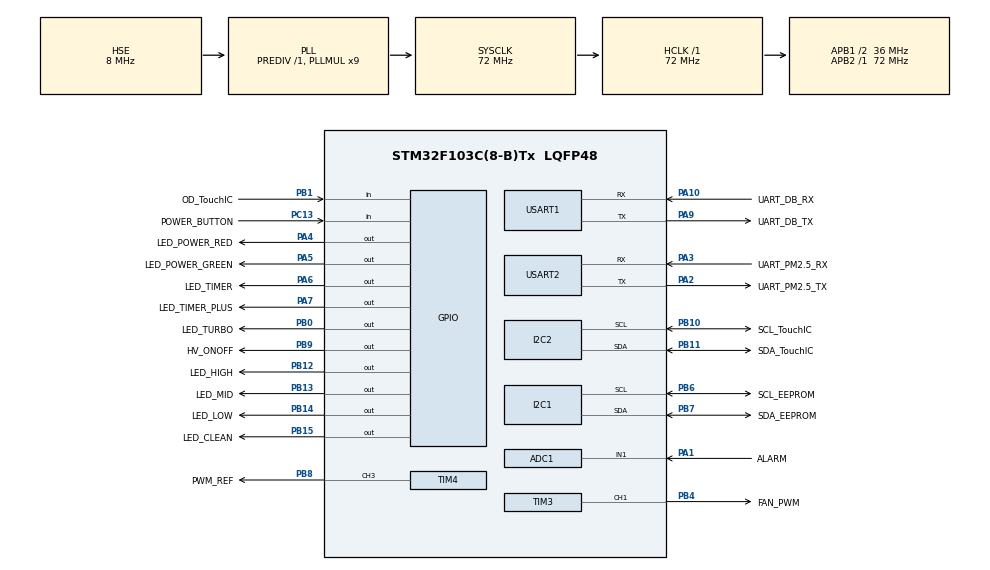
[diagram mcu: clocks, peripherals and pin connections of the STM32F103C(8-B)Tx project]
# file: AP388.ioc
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ADC1.AWD1HighThreshold=1241
ADC1.AWD1ITMode=ENABLE
ADC1.AWD1LowThreshold=250
ADC1.Channel-0\#ChannelRegularConversion=ADC_CHANNEL_1
ADC1.ContinuousConvMode=ENABLE
ADC1.DataAlign=ADC_DATAALIGN_RIGHT
ADC1.DiscontinuousConvMode=DISABLE
ADC1.EnableAnalogWatchDog=true
ADC1.EnableRegularConversion=ENABLE
ADC1.ExternalTrigConv=ADC_SOFTWARE_START
ADC1.InjNumberOfConversion=0
ADC1.NbrOfConversion=1
ADC1.NbrOfConversionFlag=1
ADC1.Rank-0\#ChannelRegularConversion=1
ADC1.SamplingTime-0\#ChannelRegularConversion=ADC_SAMPLETIME_239CYCLES_5
ADC1.ScanConvMode=ADC_SCAN_DISABLE
ADC1.WatchdogChannel=ADC_CHANNEL_1
ADC1.WatchdogMode=ADC_ANALOGWATCHDOG_SINGLE_REG
ADC1.master=1
FREERTOS.INCLUDE_vTaskDelayUntil=1
FREERTOS.Queues01=eventsQueueHAL,16,uint8_t,0,Dynamic,NULL,NULL
FREERTOS.Tasks01=FlashLedsTask,0,128,StartFlashLedsTask,Default,NULL,Dynamic,NULL,NULL;ButtonTask,-3,128,StartButtonTask,Default,NULL,Dynamic,NULL,NULL;TouchTask,-3,128,StartTouchTask,Default,NULL,Dynamic,NULL,NULL;EngineTask,-3,128,StartEngineTask,Default,NULL,Dynamic,NULL,NULL;Cli,-3,128,StartCli,Default,NULL,Dynamic,NULL,NULL;AdcTask,-3,128,StartAdcTask,Default,NULL,Dynamic,NULL,NULL
FREERTOS.Timers01=settingTimer,settingTimerCallback,osTimerOnce,Default,NULL,Dynamic,NULL;fanTimer,fanTimerCallback,osTimerOnce,Default,NULL,Dynamic,NULL;cleanAccTimer,cleanAccTimerCallback,osTimerPeriodic,Default,NULL,Dynamic,NULL;hvDelayTimer,hvDelayTimerCallback,osTimerOnce,Default,NULL,Dynamic,NULL;adjFanGradullyTimer,adjFanGradullyCallback,osTimerPeriodic,Default,NULL,Dynamic,NULL
FREERTOS.configGENERATE_RUN_TIME_STATS=1
FREERTOS.configTIMER_QUEUE_LENGTH=2
FREERTOS.configTIMER_TASK_STACK_DEPTH=128
FREERTOS.configTOTAL_HEAP_SIZE=6000
FREERTOS.configUSE_STATS_FORMATTING_FUNCTIONS=1
FREERTOS.configUSE_TIMERS=1
FREERTOS.configUSE_TRACE_FACILITY=1
IWDG.Prescaler=IWDG_PRESCALER_64
Mcu.Family=STM32F1
Mcu.Name=STM32F103C(8-B)Tx
Mcu.Package=LQFP48
NVIC.ADC1_2_IRQn=true\:5\:0\:false\:false\:true\:true\:true
NVIC.PriorityGroup=NVIC_PRIORITYGROUP_4
NVIC.TIM2_IRQn=true\:0\:0\:false\:false\:true\:false\:false
NVIC.TimeBase=TIM2_IRQn
NVIC.TimeBaseIP=TIM2
PA1.GPIO_Label=ALARM
PA1.Signal=ADCx_IN1
PA10.GPIO_Label=UART_DB_RX
PA10.Mode=Asynchronous
PA10.Signal=USART1_RX
PA13.Mode=Serial_Wire
PA13.Signal=SYS_JTMS-SWDIO
PA14.Mode=Serial_Wire
PA14.Signal=SYS_JTCK-SWCLK
PA2.GPIO_Label=UART_PM2.5_TX
PA2.Mode=Asynchronous
PA2.Signal=USART2_TX
PA3.GPIO_Label=UART_PM2.5_RX
PA3.Mode=Asynchronous
PA3.Signal=USART2_RX
PA4.GPIO_Label=LED_POWER_RED
PA4.PinState=GPIO_PIN_SET
PA4.Signal=GPIO_Output
PA5.GPIO_Label=LED_POWER_GREEN
PA5.PinState=GPIO_PIN_SET
PA5.Signal=GPIO_Output
PA6.GPIO_Label=LED_TIMER
PA6.PinState=GPIO_PIN_SET
PA6.Signal=GPIO_Output
PA7.GPIO_Label=LED_TIMER_PLUS
PA7.PinState=GPIO_PIN_SET
PA7.Signal=GPIO_Output
PA9.GPIO_Label=UART_DB_TX
PA9.Mode=Asynchronous
PA9.Signal=USART1_TX
PB0.GPIO_Label=LED_TURBO
PB0.PinState=GPIO_PIN_SET
PB0.Signal=GPIO_Output
PB1.GPIO_Label=OD_TouchIC
PB1.GPIO_PuPd=GPIO_NOPULL
PB1.Signal=GPIO_Input
PB10.GPIO_Label=SCL_TouchIC
PB10.Mode=I2C
PB10.Signal=I2C2_SCL
PB11.GPIO_Label=SDA_TouchIC
PB11.Mode=I2C
PB11.Signal=I2C2_SDA
PB12.GPIO_Label=LED_HIGH
PB12.PinState=GPIO_PIN_SET
PB12.Signal=GPIO_Output
PB13.GPIO_Label=LED_MID
PB13.PinState=GPIO_PIN_SET
PB13.Signal=GPIO_Output
PB14.GPIO_Label=LED_LOW
PB14.PinState=GPIO_PIN_SET
PB14.Signal=GPIO_Output
PB15.GPIO_Label=LED_CLEAN
PB15.PinState=GPIO_PIN_SET
PB15.Signal=GPIO_Output
PB4.GPIO_Label=FAN_PWM
PB4.Signal=S_TIM3_CH1
PB6.GPIO_Label=SCL_EEPROM
PB6.Mode=I2C
PB6.Signal=I2C1_SCL
PB7.GPIO_Label=SDA_EEPROM
PB7.Mode=I2C
PB7.Signal=I2C1_SDA
PB8.GPIO_Label=PWM_REF
PB8.Signal=S_TIM4_CH3
PB9.GPIO_Label=HV_ONOFF
PB9.Signal=GPIO_Output
PC13-TAMPER-RTC.GPIO_Label=POWER_BUTTON
PC13-TAMPER-RTC.Signal=GPIO_Input
PD0-OSC_IN.Mode=HSE-External-Oscillator
PD0-OSC_IN.Signal=RCC_OSC_IN
PD1-OSC_OUT.Mode=HSE-External-Oscillator
PD1-OSC_OUT.Signal=RCC_OSC_OUT
ProjectManager.HeapSize=0x200
ProjectManager.StackSize=0x400
ProjectManager.TargetToolchain=MDK-ARM V5
RCC.ADCPresc=RCC_ADCPCLK2_DIV6
RCC.AHBFreq_Value=72000000
RCC.APB1CLKDivider=RCC_HCLK_DIV2
RCC.APB1Freq_Value=36000000
RCC.APB1TimFreq_Value=72000000
RCC.APB2Freq_Value=72000000
RCC.APB2TimFreq_Value=72000000
RCC.HCLKFreq_Value=72000000
RCC.PLLMUL=RCC_PLL_MUL9
RCC.PLLSourceVirtual=RCC_PLLSOURCE_HSE
RCC.SYSCLKFreq_VALUE=72000000
RCC.SYSCLKSource=RCC_SYSCLKSOURCE_PLLCLK
RCC.USBFreq_Value=72000000
SH.ADCx_IN1.0=ADC1_IN1,IN1
SH.S_TIM3_CH1.0=TIM3_CH1,PWM Generation1 CH1
SH.S_TIM4_CH3.0=TIM4_CH3,PWM Generation3 CH3
TIM3.Channel-PWM\ Generation1\ CH1=TIM_CHANNEL_1
TIM3.Period=99
TIM3.Prescaler=29
TIM3.Pulse-PWM\ Generation1\ CH1=0
TIM4.Channel-PWM\ Generation3\ CH3=TIM_CHANNEL_3
TIM4.Period=99
TIM4.Prescaler=29
TIM4.Pulse-PWM\ Generation3\ CH3=58
USART1.VirtualMode=VM_ASYNC
USART2.VirtualMode=VM_ASYNC
VP_FREERTOS_VS_ENABLE.Mode=Enabled
VP_IWDG_VS_IWDG.Mode=IWDG_Activate
VP_SYS_VS_tim2.Mode=TIM2
board=AP388

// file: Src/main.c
/**
  ******************************************************************************
  * @file           : main.c
  * @brief          : Main program body
  ******************************************************************************
  * This notice applies to any and all portions of this file
  * that are not between comment pairs USER CODE BEGIN and
  * USER CODE END. Other portions of this file, whether
  * inserted by the user or by software development tools
  * are owned by their respective copyright owners.
  *
  * Copyright (c) 2018 STMicroelectronics International N.V.
  * All rights reserved.
  *
  * Redistribution and use in source and binary forms, with or without
  * modification, are permitted, provided that the following conditions are met:
  *
  * 1. Redistribution of source code must retain the above copyright notice,
  *    this list of conditions and the following disclaimer.
  * 2. Redistributions in binary form must reproduce the above copyright notice,
  *    this list of conditions and the following disclaimer in the documentation
  *    and/or other materials provided with the distribution.
  * 3. Neither the name of STMicroelectronics nor the names of other
  *    contributors to this software may be used to endorse or promote products
  *    derived from this software without specific written permission.
  * 4. This software, including modifications and/or derivative works of this
  *    software, must execute solely and exclusively on microcontroller or
  *    microprocessor devices manufactured by or for STMicroelectronics.
  * 5. Redistribution and use of this software other than as permitted under
  *    this license is void and will automatically terminate your rights under
  *    this license.
  *
  * THIS SOFTWARE IS PROVIDED BY STMICROELECTRONICS AND CONTRIBUTORS "AS IS"
  * AND ANY EXPRESS, IMPLIED OR STATUTORY WARRANTIES, INCLUDING, BUT NOT
  * LIMITED TO, THE IMPLIED WARRANTIES OF MERCHANTABILITY, FITNESS FOR A
  * PARTICULAR PURPOSE AND NON-INFRINGEMENT OF THIRD PARTY INTELLECTUAL PROPERTY
  * RIGHTS ARE DISCLAIMED TO THE FULLEST EXTENT PERMITTED BY LAW. IN NO EVENT
  * SHALL STMICROELECTRONICS OR CONTRIBUTORS BE LIABLE FOR ANY DIRECT, INDIRECT,
  * INCIDENTAL, SPECIAL, EXEMPLARY, OR CONSEQUENTIAL DAMAGES (INCLUDING, BUT NOT
  * LIMITED TO, PROCUREMENT OF SUBSTITUTE GOODS OR SERVICES; LOSS OF USE, DATA,
  * OR PROFITS; OR BUSINESS INTERRUPTION) HOWEVER CAUSED AND ON ANY THEORY OF
  * LIABILITY, WHETHER IN CONTRACT, STRICT LIABILITY, OR TORT (INCLUDING
  * NEGLIGENCE OR OTHERWISE) ARISING IN ANY WAY OUT OF THE USE OF THIS SOFTWARE,
  * EVEN IF ADVISED OF THE POSSIBILITY OF SUCH DAMAGE.
  *
  ******************************************************************************
  */
#include "main.h"
#include "stm32f1xx_hal.h"
#include "cmsis_os.h"

/* USER CODE BEGIN Includes */
#include "stdio.h"
#include "string.h"
#include "api.h"
#include "FreeRTOS_CLI.h"
/* USER CODE END Includes */

ADC_HandleTypeDef hadc1;

I2C_HandleTypeDef hi2c1;
I2C_HandleTypeDef hi2c2;

IWDG_HandleTypeDef hiwdg;

TIM_HandleTypeDef htim3;
TIM_HandleTypeDef htim4;

UART_HandleTypeDef huart1;
UART_HandleTypeDef huart2;

osThreadId FlashLedsTaskHandle;
osThreadId ButtonTaskHandle;
osThreadId TouchTaskHandle;
osThreadId EngineTaskHandle;
osThreadId CliHandle;
osThreadId AdcTaskHandle;
osMessageQId eventsQueueHALHandle;
osTimerId settingTimerHandle;
osTimerId fanTimerHandle;
osTimerId cleanAccTimerHandle;
osTimerId hvDelayTimerHandle;
osTimerId adjFanGradullyTimerHandle;

/* USER CODE BEGIN PV */
/* Private variables ---------------------------------------------------------*/
// _deviceState deviceState;
/* USER CODE END PV */

void SystemClock_Config(void);
static void MX_GPIO_Init(void);
static void MX_ADC1_Init(void);
static void MX_I2C2_Init(void);
static void MX_TIM4_Init(void);
static void MX_USART1_UART_Init(void);
static void MX_USART2_UART_Init(void);
static void MX_TIM3_Init(void);
static void MX_I2C1_Init(void);
static void MX_IWDG_Init(void);
void StartFlashLedsTask(void const * argument);
void StartButtonTask(void const * argument);
void StartTouchTask(void const * argument);
void StartEngineTask(void const * argument);
void StartCli(void const * argument);
void StartAdcTask(void const * argument);
void settingTimerCallback(void const * argument);
void fanTimerCallback(void const * argument);
void cleanAccTimerCallback(void const * argument);
void hvDelayTimerCallback(void const * argument);
void adjFanGradullyCallback(void const * argument);

void HAL_TIM_MspPostInit(TIM_HandleTypeDef *htim);

/* USER CODE BEGIN PFP */
/* Private function prototypes -----------------------------------------------*/
extern void prvUARTCommandConsoleTask(void const * pvParameters );
extern void vRegisterCLICommands( void );
/* USER CODE END PFP */

/* USER CODE BEGIN 0 */
#define CYCLE_CLEAN_ACC (1000*60)   //unit: ms  1000*60 for 1 miniuts
#define DURATION_CLEAN_ACC (14*24*60) //unit: min 14*24*60 for 14 days
/* USER CODE END 0 */

int fan1,fan2,fan3,fan4;//风扇每个等级标志
uint8_t fan1flag,fan2flag,fan3flag,fan4flag;//风扇按定时标志
uint8_t a = 0;//未修改时是start-touch函数中的局部变量
char slideflag,temp1=1;
int main(void)
{

  /* MCU Configuration----------------------------------------------------------*/

  /* Reset of all peripherals, Initializes the Flash interface and the Systick. */
  HAL_Init();

  /* Configure the system clock */
  SystemClock_Config();

  /* USER CODE BEGIN SysInit */
  #ifdef ENABLE_IWDG
  MX_IWDG_Init();
  #endif
  /* USER CODE END SysInit */

  /* Initialize all configured peripherals */
  MX_GPIO_Init();
  MX_ADC1_Init();
  MX_I2C2_Init();
  MX_TIM4_Init();
  MX_USART1_UART_Init();
  MX_USART2_UART_Init();
  MX_TIM3_Init();
  MX_I2C1_Init();
						//MX_IWDG_Init();
						/* USER CODE BEGIN 2 */
						// deviceState.deviceStatus = OFF;
						// deviceState.fanLever = LEVEL_LOW;
						// deviceState.blinkBits = 0x00;
						// deviceState.settingMode = FALSE;
						// deviceState.timer.timerValue = HOUR_2;
						// deviceState.timer.enable = FALSE;
						// deviceState.clean.time2clean = FALSE;
						// deviceState.gotFaultevent = FALSE;
						// deviceState.faultEnable = FALSE;
						// deviceState.hvFlag = FALSE;
  SetGlobalDeviceStatus(OFF);
	//上电默认不开风扇
  SetGlobalFanlevel(LEVEL_SILENT);
  SetGlobalBlinkBits(0x00);
  SetGlobalSettingMode(FALSE);
  SetGlobalTimerValue(HOUR_2);
  SetGlobalTimerEnable(FALSE);
  SetGlobalTime2Clean(FALSE);
  SetGlobalFaultEvent(FALSE);
  SetGlobalFaultEnable(FALSE);
  SetGlobalHvflag(FALSE);
  HAL_TIM_PWM_Start(&htim4, TIM_CHANNEL_3);
  uint8_t cleanAccTemp[2];
  GetCleanAccFromEEPROM(cleanAccTemp);
  SetGlobalCleanAcc(cleanAccTemp);

  StartSignal();
	HAL_ADC_Start_IT(&hadc1);
												/* fresh fault enable flag from eeprom */
	FreshenFaultEnableFlagFromEEPROM();

	vRegisterCLICommands();

  const  char str_test[40] = "kkk hellow world";

  HAL_UART_Transmit(&huart1, (uint8_t *) str_test, strlen( ( char * ) str_test ), strlen( ( char * ) str_test ) );
   HAL_UART_Transmit(&huart1, "hahha", 5, 5 );
  /* USER CODE END 2 */

  /* Create the timer(s) */
  /* definition and creation of settingTimer */
  osTimerDef(settingTimer, settingTimerCallback);
  settingTimerHandle = osTimerCreate(osTimer(settingTimer), osTimerOnce, NULL);

  /* definition and creation of fanTimer */
  osTimerDef(fanTimer, fanTimerCallback);
  fanTimerHandle = osTimerCreate(osTimer(fanTimer), osTimerOnce, NULL);

  /* definition and creation of cleanAccTimer */
  osTimerDef(cleanAccTimer, cleanAccTimerCallback);
  cleanAccTimerHandle = osTimerCreate(osTimer(cleanAccTimer), osTimerPeriodic, NULL);

  /* definition and creation of hvDelayTimer */
  osTimerDef(hvDelayTimer, hvDelayTimerCallback);
  hvDelayTimerHandle = osTimerCreate(osTimer(hvDelayTimer), osTimerOnce, NULL);

  /* definition and creation of adjFanGradullyTimer */
  osTimerDef(adjFanGradullyTimer, adjFanGradullyCallback);
  adjFanGradullyTimerHandle = osTimerCreate(osTimer(adjFanGradullyTimer), osTimerPeriodic, NULL);

  /* Create the thread(s) */
  /* definition and creation of FlashLedsTask */
  osThreadDef(FlashLedsTask, StartFlashLedsTask, osPriorityNormal, 0, 128);
  FlashLedsTaskHandle = osThreadCreate(osThread(FlashLedsTask), NULL);

  /* definition and creation of ButtonTask */
  osThreadDef(ButtonTask, StartButtonTask, osPriorityIdle, 0, 128);
  ButtonTaskHandle = osThreadCreate(osThread(ButtonTask), NULL);

  /* definition and creation of TouchTask */
  osThreadDef(TouchTask, StartTouchTask, osPriorityIdle, 0, 128);
  TouchTaskHandle = osThreadCreate(osThread(TouchTask), NULL);

  /* definition and creation of EngineTask */
  osThreadDef(EngineTask, StartEngineTask, osPriorityIdle, 0, 128);
  EngineTaskHandle = osThreadCreate(osThread(EngineTask), NULL);

  /* definition and creation of Cli */
  osThreadDef(Cli, StartCli, osPriorityIdle, 0, 128);
  CliHandle = osThreadCreate(osThread(Cli), NULL);

  /* definition and creation of AdcTask */
  osThreadDef(AdcTask, StartAdcTask, osPriorityIdle, 0, 128);
  AdcTaskHandle = osThreadCreate(osThread(AdcTask), NULL);

  /* USER CODE BEGIN RTOS_THREADS */
  /* add threads, ... */
	//vUARTCommandConsoleStart();
  /* USER CODE END RTOS_THREADS */

  /* Create the queue(s) */
  /* definition and creation of eventsQueueHAL */
/* what about the sizeof here??? cd native code */
  osMessageQDef(eventsQueueHAL, 16, uint8_t);
  eventsQueueHALHandle = osMessageCreate(osMessageQ(eventsQueueHAL), NULL);

  /* USER CODE BEGIN RTOS_QUEUES */
  /* add queues, ... */
  QueueHandle_t eventsQueue;
  eventsQueue = xQueueCreate(10, sizeof(event));
  /* USER CODE END RTOS_QUEUES */

  /* Start scheduler */
  osKernelStart();

  /* We should never get here as control is now taken by the scheduler */

  /* Infinite loop */
  while (1)
  {

  }

}

void SystemClock_Config(void)
{

  RCC_OscInitTypeDef RCC_OscInitStruct;
  RCC_ClkInitTypeDef RCC_ClkInitStruct;
  RCC_PeriphCLKInitTypeDef PeriphClkInit;

    /**Initializes the CPU, AHB and APB busses clocks
    */
  RCC_OscInitStruct.OscillatorType = RCC_OSCILLATORTYPE_LSI|RCC_OSCILLATORTYPE_HSE;
  RCC_OscInitStruct.HSEState = RCC_HSE_ON;
  RCC_OscInitStruct.HSEPredivValue = RCC_HSE_PREDIV_DIV1;
  RCC_OscInitStruct.HSIState = RCC_HSI_ON;
  RCC_OscInitStruct.LSIState = RCC_LSI_ON;
  RCC_OscInitStruct.PLL.PLLState = RCC_PLL_ON;
  RCC_OscInitStruct.PLL.PLLSource = RCC_PLLSOURCE_HSE;
  RCC_OscInitStruct.PLL.PLLMUL = RCC_PLL_MUL9;
  if (HAL_RCC_OscConfig(&RCC_OscInitStruct) != HAL_OK)
  {
    _Error_Handler(__FILE__, __LINE__);
  }

    /**Initializes the CPU, AHB and APB busses clocks
    */
  RCC_ClkInitStruct.ClockType = RCC_CLOCKTYPE_HCLK|RCC_CLOCKTYPE_SYSCLK
                              |RCC_CLOCKTYPE_PCLK1|RCC_CLOCKTYPE_PCLK2;
  RCC_ClkInitStruct.SYSCLKSource = RCC_SYSCLKSOURCE_PLLCLK;
  RCC_ClkInitStruct.AHBCLKDivider = RCC_SYSCLK_DIV1;
  RCC_ClkInitStruct.APB1CLKDivider = RCC_HCLK_DIV2;
  RCC_ClkInitStruct.APB2CLKDivider = RCC_HCLK_DIV1;

  if (HAL_RCC_ClockConfig(&RCC_ClkInitStruct, FLASH_LATENCY_2) != HAL_OK)
  {
    _Error_Handler(__FILE__, __LINE__);
  }

  PeriphClkInit.PeriphClockSelection = RCC_PERIPHCLK_ADC;
  PeriphClkInit.AdcClockSelection = RCC_ADCPCLK2_DIV6;
  if (HAL_RCCEx_PeriphCLKConfig(&PeriphClkInit) != HAL_OK)
  {
    _Error_Handler(__FILE__, __LINE__);
  }

    /**Configure the Systick interrupt time
    */
  HAL_SYSTICK_Config(HAL_RCC_GetHCLKFreq()/1000);

    /**Configure the Systick
    */
  HAL_SYSTICK_CLKSourceConfig(SYSTICK_CLKSOURCE_HCLK);

  /* SysTick_IRQn interrupt configuration */
  HAL_NVIC_SetPriority(SysTick_IRQn, 15, 0);
}

/* ADC1 init function */
static void MX_ADC1_Init(void)
{

  ADC_AnalogWDGConfTypeDef AnalogWDGConfig;
  ADC_ChannelConfTypeDef sConfig;

    /**Common config
    */
  hadc1.Instance = ADC1;
  hadc1.Init.ScanConvMode = ADC_SCAN_DISABLE;
  hadc1.Init.ContinuousConvMode = ENABLE;
  hadc1.Init.DiscontinuousConvMode = DISABLE;
  hadc1.Init.ExternalTrigConv = ADC_SOFTWARE_START;
  hadc1.Init.DataAlign = ADC_DATAALIGN_RIGHT;
  hadc1.Init.NbrOfConversion = 1;
  if (HAL_ADC_Init(&hadc1) != HAL_OK)
  {
    _Error_Handler(__FILE__, __LINE__);
  }

    /**Configure Analog WatchDog 1
    */
  AnalogWDGConfig.WatchdogMode = ADC_ANALOGWATCHDOG_SINGLE_REG;
  AnalogWDGConfig.HighThreshold = 1241;
  AnalogWDGConfig.LowThreshold = 250;
  AnalogWDGConfig.Channel = ADC_CHANNEL_1;
  AnalogWDGConfig.ITMode = ENABLE;
  if (HAL_ADC_AnalogWDGConfig(&hadc1, &AnalogWDGConfig) != HAL_OK)
  {
    _Error_Handler(__FILE__, __LINE__);
  }

    /**Configure Regular Channel
    */
  sConfig.Channel = ADC_CHANNEL_1;
  sConfig.Rank = ADC_REGULAR_RANK_1;
  sConfig.SamplingTime = ADC_SAMPLETIME_239CYCLES_5;
  if (HAL_ADC_ConfigChannel(&hadc1, &sConfig) != HAL_OK)
  {
    _Error_Handler(__FILE__, __LINE__);
  }

}

/* I2C1 init function */
static void MX_I2C1_Init(void)
{

  hi2c1.Instance = I2C1;
  hi2c1.Init.ClockSpeed = 100000;
  hi2c1.Init.DutyCycle = I2C_DUTYCYCLE_2;
  hi2c1.Init.OwnAddress1 = 0;
  hi2c1.Init.AddressingMode = I2C_ADDRESSINGMODE_7BIT;
  hi2c1.Init.DualAddressMode = I2C_DUALADDRESS_DISABLE;
  hi2c1.Init.OwnAddress2 = 0;
  hi2c1.Init.GeneralCallMode = I2C_GENERALCALL_DISABLE;
  hi2c1.Init.NoStretchMode = I2C_NOSTRETCH_DISABLE;
  if (HAL_I2C_Init(&hi2c1) != HAL_OK)
  {
    _Error_Handler(__FILE__, __LINE__);
  }

}

/* I2C2 init function */
static void MX_I2C2_Init(void)
{

  hi2c2.Instance = I2C2;
  hi2c2.Init.ClockSpeed = 100000;
  hi2c2.Init.DutyCycle = I2C_DUTYCYCLE_2;
  hi2c2.Init.OwnAddress1 = 0;
  hi2c2.Init.AddressingMode = I2C_ADDRESSINGMODE_7BIT;
  hi2c2.Init.DualAddressMode = I2C_DUALADDRESS_DISABLE;
  hi2c2.Init.OwnAddress2 = 0;
  hi2c2.Init.GeneralCallMode = I2C_GENERALCALL_DISABLE;
  hi2c2.Init.NoStretchMode = I2C_NOSTRETCH_DISABLE;
  if (HAL_I2C_Init(&hi2c2) != HAL_OK)
  {
    _Error_Handler(__FILE__, __LINE__);
  }

}

/* IWDG init function */
static void MX_IWDG_Init(void)
{

  hiwdg.Instance = IWDG;
  hiwdg.Init.Prescaler = IWDG_PRESCALER_64;
  hiwdg.Init.Reload = 4095;
  if (HAL_IWDG_Init(&hiwdg) != HAL_OK)
  {
    _Error_Handler(__FILE__, __LINE__);
  }

}

/* TIM3 init function */
static void MX_TIM3_Init(void)
{

  TIM_MasterConfigTypeDef sMasterConfig;
  TIM_OC_InitTypeDef sConfigOC;

  htim3.Instance = TIM3;
  htim3.Init.Prescaler = 29;
  htim3.Init.CounterMode = TIM_COUNTERMODE_UP;
  htim3.Init.Period = 99;
  htim3.Init.ClockDivision = TIM_CLOCKDIVISION_DIV1;
  htim3.Init.AutoReloadPreload = TIM_AUTORELOAD_PRELOAD_DISABLE;
  if (HAL_TIM_PWM_Init(&htim3) != HAL_OK)
  {
    _Error_Handler(__FILE__, __LINE__);
  }

  sMasterConfig.MasterOutputTrigger = TIM_TRGO_RESET;
  sMasterConfig.MasterSlaveMode = TIM_MASTERSLAVEMODE_DISABLE;
  if (HAL_TIMEx_MasterConfigSynchronization(&htim3, &sMasterConfig) != HAL_OK)
  {
    _Error_Handler(__FILE__, __LINE__);
  }

  sConfigOC.OCMode = TIM_OCMODE_PWM1;
  sConfigOC.Pulse = 0;
  sConfigOC.OCPolarity = TIM_OCPOLARITY_HIGH;
  sConfigOC.OCFastMode = TIM_OCFAST_DISABLE;
  if (HAL_TIM_PWM_ConfigChannel(&htim3, &sConfigOC, TIM_CHANNEL_1) != HAL_OK)
  {
    _Error_Handler(__FILE__, __LINE__);
  }

  HAL_TIM_MspPostInit(&htim3);

}

/* TIM4 init function */
static void MX_TIM4_Init(void)
{

  TIM_MasterConfigTypeDef sMasterConfig;
  TIM_OC_InitTypeDef sConfigOC;

  htim4.Instance = TIM4;
  htim4.Init.Prescaler = 29;
  htim4.Init.CounterMode = TIM_COUNTERMODE_UP;
  htim4.Init.Period = 99;
  htim4.Init.ClockDivision = TIM_CLOCKDIVISION_DIV1;
  htim4.Init.AutoReloadPreload = TIM_AUTORELOAD_PRELOAD_DISABLE;
  if (HAL_TIM_PWM_Init(&htim4) != HAL_OK)
  {
    _Error_Handler(__FILE__, __LINE__);
  }

  sMasterConfig.MasterOutputTrigger = TIM_TRGO_RESET;
  sMasterConfig.MasterSlaveMode = TIM_MASTERSLAVEMODE_DISABLE;
  if (HAL_TIMEx_MasterConfigSynchronization(&htim4, &sMasterConfig) != HAL_OK)
  {
    _Error_Handler(__FILE__, __LINE__);
  }

  sConfigOC.OCMode = TIM_OCMODE_PWM1;
  sConfigOC.Pulse = 58;
  sConfigOC.OCPolarity = TIM_OCPOLARITY_HIGH;
  sConfigOC.OCFastMode = TIM_OCFAST_DISABLE;
  if (HAL_TIM_PWM_ConfigChannel(&htim4, &sConfigOC, TIM_CHANNEL_3) != HAL_OK)
  {
    _Error_Handler(__FILE__, __LINE__);
  }

  HAL_TIM_MspPostInit(&htim4);

}

/* USART1 init function */
static void MX_USART1_UART_Init(void)
{

  huart1.Instance = USART1;
  huart1.Init.BaudRate = 115200;
  huart1.Init.WordLength = UART_WORDLENGTH_8B;
  huart1.Init.StopBits = UART_STOPBITS_1;
  huart1.Init.Parity = UART_PARITY_NONE;
  huart1.Init.Mode = UART_MODE_TX_RX;
  huart1.Init.HwFlowCtl = UART_HWCONTROL_NONE;
  huart1.Init.OverSampling = UART_OVERSAMPLING_16;
  if (HAL_UART_Init(&huart1) != HAL_OK)
  {
    _Error_Handler(__FILE__, __LINE__);
  }

}

/* USART2 init function */
static void MX_USART2_UART_Init(void)
{

  huart2.Instance = USART2;
  huart2.Init.BaudRate = 115200;
  huart2.Init.WordLength = UART_WORDLENGTH_8B;
  huart2.Init.StopBits = UART_STOPBITS_1;
  huart2.Init.Parity = UART_PARITY_NONE;
  huart2.Init.Mode = UART_MODE_TX_RX;
  huart2.Init.HwFlowCtl = UART_HWCONTROL_NONE;
  huart2.Init.OverSampling = UART_OVERSAMPLING_16;
  if (HAL_UART_Init(&huart2) != HAL_OK)
  {
    _Error_Handler(__FILE__, __LINE__);
  }

}

/** Configure pins as
        * Analog
        * Input
        * Output
        * EVENT_OUT
        * EXTI
*/
static void MX_GPIO_Init(void)
{

  GPIO_InitTypeDef GPIO_InitStruct;

  /* GPIO Ports Clock Enable */
  __HAL_RCC_GPIOC_CLK_ENABLE();
  __HAL_RCC_GPIOD_CLK_ENABLE();
  __HAL_RCC_GPIOA_CLK_ENABLE();
  __HAL_RCC_GPIOB_CLK_ENABLE();

  /*Configure GPIO pin Output Level */
  HAL_GPIO_WritePin(GPIOA, LED_POWER_RED_Pin|LED_CLEAN_Pin|LED_TIMER_Pin|LED_TIMER_PLUS_Pin, GPIO_PIN_SET);

  /*Configure GPIO pin Output Level */
  HAL_GPIO_WritePin(GPIOB, LED_TURBO_Pin|LED_HIGH_Pin|LED_MID_Pin|LED_LOW_Pin
                          |LED_POWER_GREEN_Pin, GPIO_PIN_SET);

  /*Configure GPIO pin Output Level */
  HAL_GPIO_WritePin(HV_ONOFF_GPIO_Port, HV_ONOFF_Pin, GPIO_PIN_RESET);

  /*Configure GPIO pin : POWER_BUTTON_Pin */
  GPIO_InitStruct.Pin = POWER_BUTTON_Pin;
  GPIO_InitStruct.Mode = GPIO_MODE_INPUT;
  GPIO_InitStruct.Pull = GPIO_NOPULL;
  HAL_GPIO_Init(POWER_BUTTON_GPIO_Port, &GPIO_InitStruct);

  /*Configure GPIO pins : LED_POWER_RED_Pin LED_POWER_GREEN_Pin LED_TIMER_Pin LED_TIMER_PLUS_Pin */
  GPIO_InitStruct.Pin = LED_POWER_RED_Pin|LED_CLEAN_Pin|LED_TIMER_Pin|LED_TIMER_PLUS_Pin;
  GPIO_InitStruct.Mode = GPIO_MODE_OUTPUT_PP;
  GPIO_InitStruct.Pull = GPIO_NOPULL;
  GPIO_InitStruct.Speed = GPIO_SPEED_FREQ_LOW;
  HAL_GPIO_Init(GPIOA, &GPIO_InitStruct);

  /*Configure GPIO pins : LED_TURBO_Pin LED_HIGH_Pin LED_MID_Pin LED_LOW_Pin
                           LED_CLEAN_Pin HV_ONOFF_Pin */
  GPIO_InitStruct.Pin = LED_TURBO_Pin|LED_HIGH_Pin|LED_MID_Pin|LED_LOW_Pin
                          |LED_POWER_GREEN_Pin|HV_ONOFF_Pin;
  GPIO_InitStruct.Mode = GPIO_MODE_OUTPUT_PP;
  GPIO_InitStruct.Pull = GPIO_NOPULL;
  GPIO_InitStruct.Speed = GPIO_SPEED_FREQ_LOW;
  HAL_GPIO_Init(GPIOB, &GPIO_InitStruct);

  /*Configure GPIO pin : OD_TouchIC_Pin */
  GPIO_InitStruct.Pin = OD_TouchIC_Pin;
  GPIO_InitStruct.Mode = GPIO_MODE_INPUT;
  GPIO_InitStruct.Pull = GPIO_NOPULL;
  HAL_GPIO_Init(OD_TouchIC_GPIO_Port, &GPIO_InitStruct);

}

/* StartFlashLedsTask function */
void StartFlashLedsTask(void const * argument)
{

  /* USER CODE BEGIN 5 */
  //HAL_GPIO_TogglePin();
  /* Infinite loop */
  for(;;)
  {
    //ledsBlinky(deviceState.blinkBits);
    // 1, turn on leds
    if (GetGlobalBlinkBits() & led_clean_blink_bit)
			cleanLedOn();
    if (GetGlobalBlinkBits() & led_power_green_blink_bit)
			powerLedOn();
    if (GetGlobalBlinkBits() & led_timer_blink_bit)
			timerLedOn();
    if (GetGlobalBlinkBits() & led_timer_plus_blink_bit)
			plusTimerLedOn();
    if (GetGlobalBlinkBits() & led_low_blink_bit)
			lowLedOn();
    if (GetGlobalBlinkBits() & led_mid_blink_bit)
			midLedOn();
    if (GetGlobalBlinkBits() & led_high_blink_bit)
			highLedOn();
    if (GetGlobalBlinkBits() & led_turbo_blink_bit)
			turboLedOn();
  // 2, delay
    osDelay(500);
  // 3, turn off leds
    if (GetGlobalBlinkBits() & led_clean_blink_bit)
        cleanLedOff();
    if (GetGlobalBlinkBits() & led_power_green_blink_bit)
        powerLedOff();
    if (GetGlobalBlinkBits() & led_timer_blink_bit)
        timerLedOff();
    if (GetGlobalBlinkBits() & led_timer_plus_blink_bit)
        plusTimerLedOff();
    if (GetGlobalBlinkBits() & led_low_blink_bit)
        lowLedOff();
    if (GetGlobalBlinkBits() & led_mid_blink_bit)
        midLedOff();
    if (GetGlobalBlinkBits() & led_high_blink_bit)
        highLedOff();
    if (GetGlobalBlinkBits() & led_turbo_blink_bit)
        turboLedOff();
  // 4, delay
    osDelay(500);
		//osDelay(5000);
  }
  /* USER CODE END 5 */
}

/* StartButtonTask function */
void StartButtonTask(void const * argument)
{
  /* USER CODE BEGIN StartButtonTask */
  /* Infinite loop */
  uint8_t a=0;
  event e;
  for(;;)
  {
    if (HAL_GPIO_ReadPin(POWER_BUTTON_GPIO_Port, POWER_BUTTON_Pin) == 0) {
      a++;
      if (a == 10) {
        e = BUTTON_POWER_SHORT;
        xQueueSend(eventsQueueHALHandle, &e, 10);
      }
      else if (a == 100) {
        e = BUTTON_POWER_LONG;
        xQueueSend(eventsQueueHALHandle, &e, 10);
      }
      else if (a == 200) {
        // get the turbo_mode flag
        ToggleTurboTestFlag();
        // toggle the flag
        HAL_NVIC_SystemReset();
        // then reset the mcu
      }
    }
    else {
      if ( a > 10 && a < 40) {
        // e = BUTTON_POWER_SHORT;
        // xQueueSend(eventsQueueHALHandle, &e, 10);
      }
      else if (a >= 40 && a < 80) {
        // if (GetGlobalFaultFromEEPROM() == TRUE) {
        //   SetFaultFlag2EEPROM(FALSE);
        //   FreshenFaultFlagFromEEPROM();
        // }
        // else {
        //   SetFaultFlag2EEPROM(TRUE);
        //   FreshenFaultFlagFromEEPROM();
        // }
        // e = EVENT_CLEANING_ACC;
        // deviceState.clean.time2clean = TRUE;
        // xQueueSend(eventsQueueHALHandle, &e, 10);
      }
      a = 0;
    }
    osDelay(50);
  }
  /* USER CODE END StartButtonTask */
}

/* StartTouchTask function */
void StartTouchTask(void const * argument)
{
  /* USER CODE BEGIN StartTouchTask */
  /* Infinite loop */
  //uint8_t a = 0;
  uint8_t key_value[2];
  touch_value ta = BUTTON_MAX;
  event e;
  osDelay(1000);
  for(;;)
  {
    //HAL_I2C_Master_Receive(&hi2c2, ADDR_TOUCH_READ, key_value, 2, 10);
		  	 //HAL_I2C_Master_Receive(&hi2c1, ADDR_TOUCH_READ, key_value, 2, 10);
    //fix_i2c_busy_bug();
		//长按事件power、clean

     if (HAL_GPIO_ReadPin(OD_TouchIC_GPIO_Port, OD_TouchIC_Pin) == 0) {
      //HAL_I2C_
      //HAL_GPIO_TogglePin(LED_CLEAN_GPIO_Port, LED_CLEAN_Pin);
      a++;
      //
      if(a == 1) {
        // record the key value
        HAL_I2C_Master_Receive(&hi2c2, ADDR_TOUCH_READ, key_value, 2, 10);
      }
      else if (a == 40) {
        // long press
        ta = InterpretTouchKeyValue(key_value);
        switch (ta) {
          case BUTTON_CLEAN :
            //HAL_GPIO_TogglePin(LED_TURBO_GPIO_Port, LED_TURBO_Pin);
            e = BUTTON_CLEAN_LONG;
            xQueueSend(eventsQueueHALHandle, &e, 10);
          break;
					case BUTTON_POWER:
          //HAL_GPIO_TogglePin(LED_POWER_GREEN_GPIO_Port, LED_POWER_GREEN_Pin);
            e = BUTTON_POWER_LONG;
            xQueueSend(eventsQueueHALHandle, &e, 10);
            break;
          default:
          break;
       }
      }
    }

	//短按事件
	//电源、清洁	、fan1、fan2、fan3、fan4、auto、
    else {
      if (a > 0 && a < 40) {
        // short press
        ta = InterpretTouchKeyValue(key_value);

				switch (ta) {

  					case BUTTON_CLEAN :

            e = BUTTON_CLEAN_SHORT;
            xQueueSend(eventsQueueHALHandle, &e, 10);
            break;

					  case BUTTON_ONE:

               e = EVENT_FAN_1;
						   fan1flag=a*35;
               xQueueSend(eventsQueueHALHandle, &e, 10);

						break;
						case BUTTON_TWO:

            e = EVENT_FAN_2;
						fan2flag=a*30;
            xQueueSend(eventsQueueHALHandle, &e, 10);

						break;

						case BUTTON_THREE:

            e = EVENT_FAN_3;
            fan3flag=a*20;
            xQueueSend(eventsQueueHALHandle, &e, 10);

						break;

      			case BUTTON_FOUR:
            fan4flag=a;
            e = EVENT_FAN_4;
            xQueueSend(eventsQueueHALHandle, &e, 10);
            break;

						case BUTTON_AUTO:
						SetGlobalTime2Clean(TRUE);
						e = EVENT_CLEANING_ACC;//测试清洁功能
         xQueueSend(eventsQueueHALHandle, &e, 10);
//            e = EVENT_AUTO;;
//            xQueueSend(eventsQueueHALHandle, &e, 10);
            break;

						case BUTTON_POWER:
            e = BUTTON_POWER_SHORT;;
            xQueueSend(eventsQueueHALHandle, &e, 10);
            break;
          default:
          break;
        }

				//        switch (ta) {
//          case BUTTON_CLEAN :
//            //HAL_GPIO_TogglePin(LED_HIGH_GPIO_Port, LED_HIGH_Pin);
//            e = BUTTON_CLEAN_SHORT;
//            xQueueSend(eventsQueueHALHandle, &e, 10);
//          break;
//          case BUTTON_FAN:
//          //HAL_GPIO_TogglePin(LED_MID_GPIO_Port, LED_MID_Pin);
//            e = BUTTON_FAN_SHORT;
//            xQueueSend(eventsQueueHALHandle, &e, 10);
//          break;
//          case BUTTON_TIMER :
//          //HAL_GPIO_TogglePin(LED_LOW_GPIO_Port, LED_LOW_Pin);
//            e = BUTTON_TIMER_SHORT;
//            xQueueSend(eventsQueueHALHandle, &e, 10);
//          break;
//          default:
//          break;
//        }

      }
      a = 0;
    }
    osDelay(50);
  }
  /* USER CODE END StartTouchTask */
}

/* StartEngineTask function */
void StartEngineTask(void const * argument)
{
  /* USER CODE BEGIN StartEngineTask */
  /* Infinite loop */
	char temp;
  event new;
  event e;
	if (GetTurboTestFlag()) {
    e = EVENT_TURBO_TEST;
    xQueueSend(eventsQueueHALHandle, &e, 10);
  }

                //浜у搧锟?????????6鍒嗛挓锟?????????娆＄疮锟?????????
  osTimerStart(cleanAccTimerHandle, CYCLE_CLEAN_ACC);
  //osTimerStart(cleanAccTimerHandle, 1000*60*6);
  for(;;)
  {

	if(fan1flag!=0)
	fan1flag--;
	if(fan2flag!=0)
	fan2flag--;
	if(fan3flag!=0)
	fan3flag--;
	if(fan4flag!=0)
	fan4flag--;

	//if(((fan1flag>10)&&(fan2flag>10))||((fan3flag>10)&&(fan2flag>10)))

	if((fan1flag>10)&&(fan2flag>10)&&(fan3flag>10))

	{
		if(temp1==1)
			{
					e = EVENT_FAN_4;
					slideflag=1;
					xQueueSend(eventsQueueHALHandle, &e, 10);
			}
	}

                  // feed i watch dog
    #ifdef ENABLE_IWDG
    MX_IWDG_Init();
    #endif

		            // fault detect form HAL_ADC_LevelOutOfWindowCallback
		if (GetGlobalFaultEvent())
			{
					// clear the fault event flag
			SetGlobalFaultEvent(FALSE);
			if (GetGlobalFaultEnableFromEEPROM()){
						// this flag should be enable after high volt enable action
				if (GetGlobalFaultEnable()){
						// send fault event
					e = EVENT_FAULT;
					xQueueSend(eventsQueueHALHandle, &e, 10);
				}
			}
		}

                  // Engine code
    if (xQueueReceive(eventsQueueHALHandle, &new, 10))
			{
      switch (GetGlobalDeviceStatus()) {
        case FAULT:
					   if (new == BUTTON_POWER_SHORT) {
            OutOfFaultStatus();
            // deviceState.deviceStatus = OFF;
            SetGlobalDeviceStatus(OFF);
            ChangeStatus2Off();
          }

        break;
        case OFF:
          if (new == BUTTON_POWER_SHORT)
					{
            // deviceState.deviceStatus = NORMAL;
           SetGlobalDeviceStatus(NORMAL);
            ChangeStatus2Normal();
          }
          else if (new == BUTTON_POWER_LONG){
            //HAL_GPIO_TogglePin(LED_POWER_RED_GPIO_Port, LED_POWER_RED_Pin);
          }
          else if (new == EVENT_TURBO_TEST) {
            SetGlobalDeviceStatus(TURBO_TEST);
            ChangeStatus2TurboTest();
          }
        break;
        case TURBO_TEST:
          if (new == EVENT_FAULT) {
            // deviceState.deviceStatus = FAULT;
            SetGlobalDeviceStatus(FAULT);
            ChangeStatus2Fault();
          }
        break;
        case NORMAL:
          if (new == BUTTON_POWER_SHORT) {
            // deviceState.deviceStatus = OFF;
            SetGlobalDeviceStatus(OFF);
            ChangeStatus2Off();
          }

					  else if (new == EVENT_FAN_1) {
										if(fan1%2==0)
											{
									SetGlobalFanlevel(1);
									fanLedSet(GetGlobalFanlevel());
									ResumeFan();
											fan2=0;
											fan3=0;
											fan4=0;
									    temp1=1;
										 }
										else
										{
											SetGlobalFanlevel(LEVEL_SILENT);
										ChangeStatus2Normal();
										}
                     fan1++;
                }

					else if (new == EVENT_FAN_2) {
									if(fan2%2==0)
										{
								SetGlobalFanlevel(2);
								fanLedSet(GetGlobalFanlevel());
								ResumeFan();
											fan1=0;
											fan3=0;
											fan4=0;
											temp1=1;
									}
							  else
								{
									SetGlobalFanlevel(LEVEL_SILENT);
								ChangeStatus2Normal();
								}
                fan2++;
          }

					else if (new == EVENT_FAN_3) {
									 if(fan3%2==0){
									SetGlobalFanlevel(3);
									fanLedSet(GetGlobalFanlevel());
									ResumeFan();
										 fan2=0;
											fan1=0;
											fan4=0;
										  temp1=1;
									 }
										else
										{
											SetGlobalFanlevel(LEVEL_SILENT);
											ChangeStatus2Normal();
										}
											fan3++;

          }

					else if (new == EVENT_FAN_4)
						{
										 if(fan4%2==0)
										 {
										SetGlobalFanlevel(4);
										fanLedSet(GetGlobalFanlevel());
										ResumeFan();
															fan2=0;
															fan3=0;
															fan1=0;
											        temp1=0;
										 }

										 else
										 {
											 SetGlobalFanlevel(LEVEL_SILENT);
											 ChangeStatus2Normal();
											 temp1=1;
											 slideflag=0;
										 }
							      fan4++;
          }

					else if (new == EVENT_AUTO) {
								 if(temp%2==0)
	           		plusTimerLedOn();//对应auto
		             else
		           plusTimerLedOff();//
								 temp++;

          }
//          else if (new == BUTTON_FAN_SHORT) {
//						SetGlobalFanlevel(GetGlobalFanlevel() + 1);
//            if ( GetGlobalFanlevel() >=5) {
//              // deviceState.fanLever = 1;
//              SetGlobalFanlevel(1);
//            }
//            fanLedSet(GetGlobalFanlevel());
//            ResumeFan();
//          }
          else if (new == BUTTON_TIMER_SHORT) {
            // deviceState.deviceStatus = TIMER_SETTING;
            SetGlobalDeviceStatus(TIMER_SETTING);
            ChangeStatus2TimerSetting();
          }
          else if (new == BUTTON_TIMER_LONG) {
            if (GetGlobalTimerEnable() == TRUE) {
              // deviceState.timer.enable = FALSE;
              SetGlobalTimerEnable(FALSE);
              plusTimerLedOff();
            }
          }
          else if (new == EVENT_CLEANING_ACC) {
            cleanStartBlink();
          }
          else if (new == BUTTON_CLEAN_LONG) {
            if (GetGlobalTime2Clean() == TRUE) {
              // 1, clear duration of clean
              ClearCleanAcc();
              // deviceState.clean.cleanAcc[0] = 0;
							// deviceState.clean.cleanAcc[1] = 0;
              uint8_t a[2] = {0, 0};
              SetGlobalCleanAcc(a);
              // then
              // deviceState.clean.time2clean = FALSE;
              SetGlobalTime2Clean(FALSE);
              cleanStopBlink();
            }
          }
					 else if (new == BUTTON_CLEAN_SHORT) {

								   if(temp%2==0)//此为调试
	           		plusTimerLedOn();//
		             else
		           plusTimerLedOff();//
								 temp++;
            }
          else if (new == EVENT_FAULT) {
            // deviceState.deviceStatus = FAULT;
            SetGlobalDeviceStatus(FAULT);
            ChangeStatus2Fault();
          }
          else if (new == EVENT_TIMER_ACC) {
            if (GetGlobalTimerEnable() == TRUE) {
              // deviceState.timer.enable = FALSE;
              SetGlobalTimerEnable(FALSE);
              if (GetGlobalDeviceStatus() != OFF) {
                e = BUTTON_POWER_SHORT;
                xQueueSend(eventsQueueHALHandle, &e, 10);
              }
            }
          }
        break;
        case TIMER_SETTING:
          if (new == BUTTON_POWER_SHORT) {
            // deviceState.deviceStatus = OFF;
            SetGlobalDeviceStatus(OFF);
            ChangeStatus2Off();
          }
          else if (new == BUTTON_TIMER_SHORT) {
						SetGlobalTimerValue(GetGlobalTimerValue() + 1);
            if ( GetGlobalTimerValue() >=5) {
              // deviceState.timer.timerValue = 0;
              SetGlobalTimerValue(0);
            }
                    // stop blink for flash fan leds state
            timerSettingStopBlink();
            timerSettingStartBlink(GetGlobalTimerValue());
            osTimerStart (settingTimerHandle, 5000);

          }
          else if (new == BUTTON_TIMER_LONG) {
            // deviceState.timer.enable = FALSE;
            SetGlobalTimerEnable(FALSE);
            OutOfTimerSettingStatus();
            // deviceState.deviceStatus = NORMAL;
            SetGlobalDeviceStatus(NORMAL);
            ChangeStatus2Normal();

          }
          else if (new == EVENT_TIMER_SETTING_ACC
                  || new == BUTTON_FAN_SHORT) {
            OutOfTimerSettingStatus();
            // deviceState.deviceStatus = NORMAL;
            SetGlobalDeviceStatus(NORMAL);
            ChangeStatus2Normal();
          }
          else if (new == EVENT_FAULT) {
            // devifceState.deviceStatus = FAULT;
            SetGlobalDeviceStatus(FAULT);
            ChangeStatus2Fault();
          }
        break;

        default:
        break;
      }
    }
    osDelay(10);
  }
  /* USER CODE END StartEngineTask */
}

/* StartCli function */
void StartCli(void const * argument)
{

  /* USER CODE BEGIN StartCli */
  /* Infinite loop */
  prvUARTCommandConsoleTask(NULL);

  /* USER CODE END StartCli */
}

/* StartAdcTask function */
void StartAdcTask(void const * argument)
{
  /* USER CODE BEGIN StartAdcTask */
  char str[40];
  uint32_t value_adc_32;
  float value_adc_f;

  /* Infinite loop */
  for(;;)
  {
    // HAL_ADC_PollForConversion(&hadc1, 1000);
    // value_adc_32 = (float)HAL_ADC_GetValue(&hadc1);
    // if (GetGlobalFaultEnable()){
    //   if (value_adc_32 >= 1241 || value_adc_32 <= 250) {
    //     sprintf(str, "adc_32 value is: %u\r\n", value_adc_32);
    //     HAL_UART_Transmit(&huart1, (uint8_t *) str, strlen( ( char * ) str ), strlen( ( char * ) str ) );
    //     value_adc_f = (float)value_adc_32 / 4096 * 3.3;
    //     sprintf(str, "adc_f value is: %f\r\n\r\n", value_adc_f);
    //     //vOutputString(str);
    //     HAL_UART_Transmit(&huart1, (uint8_t *) str, strlen( ( char * ) str ), strlen( ( char * ) str ) );
    //   }
    // }

    osDelay(100);
    // next, print the value
  }
  /* USER CODE END StartAdcTask */
}

/* settingTimerCallback function */
void settingTimerCallback(void const * argument)
{
  /* USER CODE BEGIN settingTimerCallback */
  event e = EVENT_TIMER_SETTING_ACC;
  xQueueSend(eventsQueueHALHandle, &e, 10);
  /* USER CODE END settingTimerCallback */
}

/* fanTimerCallback function */
void fanTimerCallback(void const * argument)
{
  /* USER CODE BEGIN fanTimerCallback */
  event e = EVENT_TIMER_ACC;
  xQueueSend(eventsQueueHALHandle, &e, 10);
  /* USER CODE END fanTimerCallback */
}

/* cleanAccTimerCallback function */
void cleanAccTimerCallback(void const * argument)
{
  /* USER CODE BEGIN cleanAccTimerCallback */
  unsigned char x[2] = {0, 0};
  x[0]++;
  event e;
  if  (GetGlobalDeviceStatus() == NORMAL
    || GetGlobalDeviceStatus() == TIMER_SETTING) {
      GetCleanAccFromEEPROM(x);
      if (x[0] == 255) {
        if (x[1] == 255) {
          // do nothing
        }
        else {
          x[0]++;
          x[1]++;
        }
      }
      else {
        x[0]++;
      }

      SetCleanAcc2EEPROM(x);
      SetGlobalCleanAcc(x);
              // x shoul equal 10 * 24 * 14
      if (((uint16_t)x[1]*256 + x[0]) >= (uint16_t)DURATION_CLEAN_ACC && (GetGlobalTime2Clean() == FALSE)) {
      //if (x > 10 * 24 * 14)
        // deviceState.clean.time2clean = TRUE;
        SetGlobalTime2Clean(TRUE);
        e = EVENT_CLEANING_ACC;
         xQueueSend(eventsQueueHALHandle, &e, 10);
      }
    }

  // while(HAL_I2C_IsDeviceReady(&hi2c1, (uint16_t)(ADDR_EEPROM_WRITE), 3, 100 ) != HAL_OK);
  // HAL_I2C_Mem_Read(&hi2c1, (unsigned short)ADDR_EEPROM_READ,
  //                   (unsigned short)WORD_ADDR_CLEAN_ACC_HIGH8BIT, 2,
  //                   x, 2, 10);
  // x[0]++;
  // while(HAL_I2C_IsDeviceReady(&hi2c1, (uint16_t)(ADDR_EEPROM_WRITE), 3, 100 ) != HAL_OK);
  // HAL_I2C_Mem_Write(&hi2c1, (uint16_t)ADDR_EEPROM_WRITE,
  //                   (uint16_t)WORD_ADDR_CLEAN_ACC_HIGH8BIT, 2,
  //                   x, 2 ,10);
  /* USER CODE END cleanAccTimerCallback */
}

/* hvDelayTimerCallback function */
void hvDelayTimerCallback(void const * argument)
{
  /* USER CODE BEGIN hvDelayTimerCallback */
  if (GetGlobalHvflag() == TRUE) {
    // deviceState.faultEnable = TRUE;
    SetGlobalFaultEnable(TRUE);
  }
  /* USER CODE END hvDelayTimerCallback */
}

/* adjFanGradullyCallback function */
void adjFanGradullyCallback(void const * argument)
{
  /* USER CODE BEGIN adjFanGradullyCallback */
  unsigned char fan_pwm_last;
  unsigned char fan_pwm_current;
  fan_pwm_last = GetFanPercentLast();
  fan_pwm_current = GetFanPercentCurrent();
  if (fan_pwm_last < fan_pwm_current)
		{
    if (fan_pwm_current - fan_pwm_last > 10)//如果当前比旧的大10以上，就在旧的基础上加10
			{
      fan_pwm_last += 10;
    }
    else //如果当前比旧的不大于10，就取当前作旧的
			{
      fan_pwm_last = fan_pwm_current;
    }
    SetFanPWM(fan_pwm_last);
    SetFanPercentLast(fan_pwm_last);
  }
  else if (fan_pwm_last > fan_pwm_current)//如果旧的比当前的大
		{
    if (fan_pwm_last - fan_pwm_current > 10){
      fan_pwm_last -= 10;
    }
    else {
      fan_pwm_last = fan_pwm_current;
    }
    SetFanPWM(fan_pwm_last);
    SetFanPercentLast(fan_pwm_last);
  }
  else {
    // stop this timer
    osTimerStop(adjFanGradullyTimerHandle);
  }

  /* USER CODE END adjFanGradullyCallback */
}

void HAL_TIM_PeriodElapsedCallback(TIM_HandleTypeDef *htim)
{
  if (htim->Instance == TIM2) {
    HAL_IncTick();
  }
}

void _Error_Handler(char *file, int line)
{
  while(1)
  {
  }
}

/************************ (C) COPYRIGHT STMicroelectronics *****END OF FILE****/
